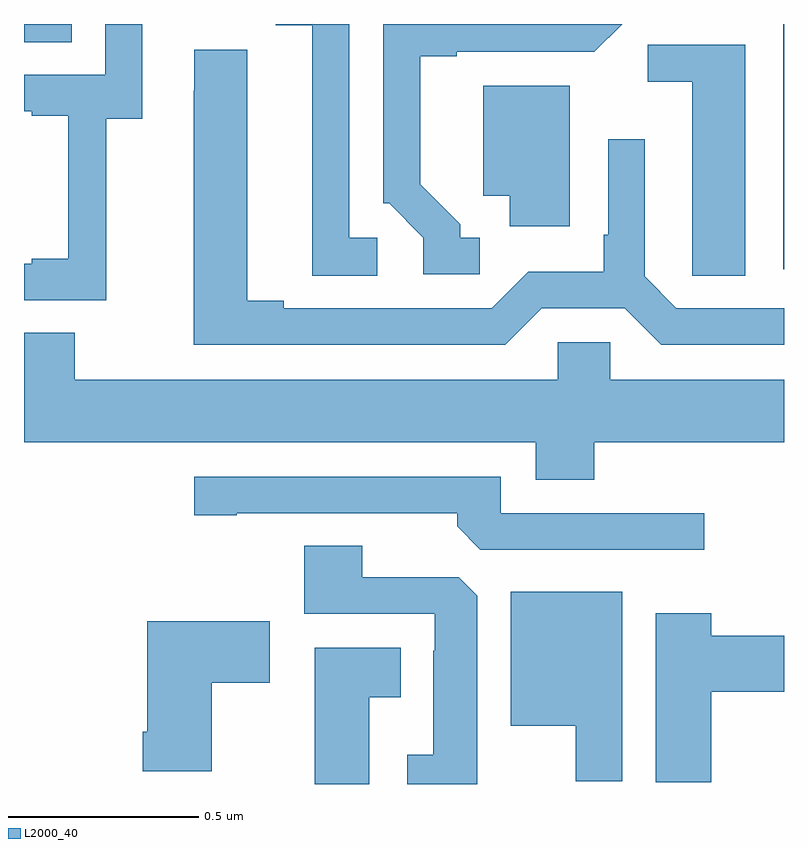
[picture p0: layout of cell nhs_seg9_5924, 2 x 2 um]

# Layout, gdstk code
import gdstk
lib = gdstk.Library(unit=1e-6, precision=1e-09)
def R(c, l, rs):  # rectangles x0, y0, x1, y1
    for r in rs: c.add(gdstk.rectangle(r[:2], r[2:], *l))
def P(c, l, *ps):  # polygons
    for p in ps: c.add(gdstk.Polygon(p, *l))
L2000_40 = (2000, 40)

nhs_seg9_5924 = lib.new_cell('nhs_seg9_5924')
R(nhs_seg9_5924, L2000_40, [(186.998,1216.854,187,1217.5), (185,1217.452,185.125,1217.5)])
P(nhs_seg9_5924, L2000_40, [(186.199,1216.938),(186.148,1216.938),(186.148,1216.973),(186.043,1217.078),(186.043,1217.415),(186.139,1217.415),(186.139,1217.427),(186.501,1217.427),(186.574,1217.5),(185.946,1217.5),(185.946,1217.028),(185.961,1217.028),(186.051,1216.938),(186.051,1216.842),(186.199,1216.842)],
  [(185.217,1217.251),(185.311,1217.251),(185.311,1217.5),(185.214,1217.5),(185.214,1217.367),(185,1217.367),(185,1217.271),(185.021,1217.271),(185.021,1217.259),(185.117,1217.259),(185.117,1216.882),(185.021,1216.882),(185.021,1216.869),(185,1216.869),(185,1216.773),(185.217,1216.773)],
  [(185.929,1216.938),(185.856,1216.938),(185.856,1217.5),(185.663,1217.5),(185.663,1217.497),(185.759,1217.497),(185.759,1216.837),(185.929,1216.837)],
  [(186.898,1217.445),(186.642,1217.445),(186.642,1217.348),(186.758,1217.348),(186.758,1216.945),(186.759,1216.945),(186.759,1216.837),(186.898,1216.837)],
  [(186.363,1216.752),(186.581,1216.752),(186.677,1216.656),(187,1216.656),(187,1216.752),(186.717,1216.752),(186.633,1216.836),(186.633,1217.197),(186.537,1217.197),(186.537,1216.945),(186.525,1216.945),(186.525,1216.848),(186.327,1216.848),(186.231,1216.752),(185.683,1216.752),(185.683,1216.772),(185.587,1216.772),(185.587,1217.432),(185.448,1217.432),(185.448,1217.324),(185.447,1217.324),(185.447,1216.656),(186.267,1216.656)],
  [(186.436,1217.338),(186.209,1217.338),(186.209,1217.048),(186.278,1217.048),(186.278,1216.968),(186.436,1216.968)],
  [(186.5,1216.4),(187,1216.4),(187,1216.564),(186.543,1216.564),(186.543,1216.662),(186.405,1216.662),(186.405,1216.564),(185.133,1216.564),(185.133,1216.688),(185,1216.688),(185,1216.4),(186.347,1216.4),(186.347,1216.301),(186.5,1216.301)],
  [(186.79,1216.212),(186.255,1216.212),(186.255,1216.308),(185.448,1216.308),(185.448,1216.207),(185.56,1216.207),(185.56,1216.212),(186.14,1216.212),(186.14,1216.178),(186.201,1216.116),(186.79,1216.116)],
  [(186.193,1215.995),(186.144,1216.044),(185.89,1216.044),(185.89,1216.127),(185.738,1216.127),(185.738,1215.948),(186.081,1215.948),(186.081,1215.851),(186.077,1215.851),(186.077,1215.577),(186.008,1215.577),(186.008,1215.5),(186.193,1215.5)],
  [(186.574,1216.006),(186.281,1216.006),(186.281,1215.653),(186.452,1215.653),(186.452,1215.507),(186.574,1215.507)],
  [(186.809,1215.743),(187,1215.743),(187,1215.89),(186.809,1215.89),(186.809,1215.949),(186.662,1215.949),(186.662,1215.505),(186.809,1215.505)],
  [(185.494,1215.766),(185.647,1215.766),(185.647,1215.928),(185.324,1215.928),(185.324,1215.637),(185.312,1215.637),(185.312,1215.533),(185.494,1215.533)],
  [(185.908,1215.728),(185.992,1215.728),(185.992,1215.859),(185.765,1215.859),(185.765,1215.5),(185.908,1215.5)])

lib.write_gds('nhs_seg9_5924.gds')
